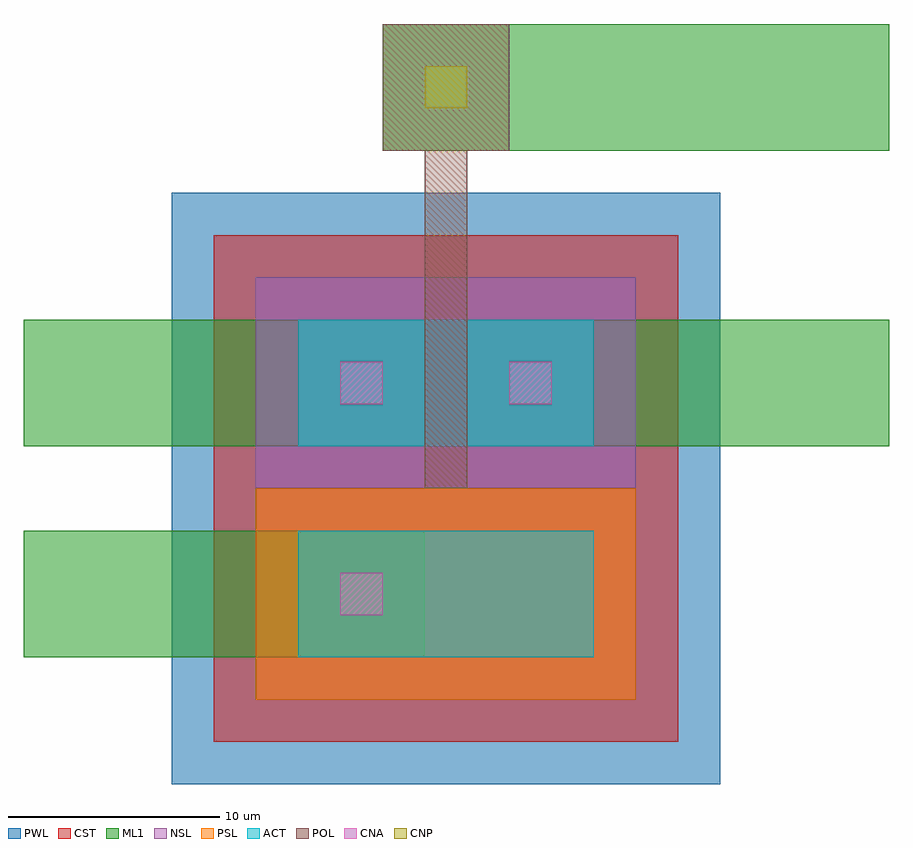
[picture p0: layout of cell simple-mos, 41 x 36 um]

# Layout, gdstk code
import gdstk
lib = gdstk.Library(unit=1e-6, precision=1e-09)
def R(c, l, rs):  # rectangles x0, y0, x1, y1
    for r in rs: c.add(gdstk.rectangle(r[:2], r[2:], *l))
PWL = (2, 0)
CST = (3, 0)
ACT = (4, 0)
POL = (7, 0)
NSL = (8, 0)
PSL = (9, 0)
CNA = (10, 0)
CNP = (11, 0)
ML1 = (12, 0)

simple_mos = lib.new_cell('simple-mos')
R(simple_mos, PWL, [(0,0,26,28)])
R(simple_mos, CST, [(2,2,24,26)])
R(simple_mos, ACT, [(6,6,20,12), (6,16,20,22)])
R(simple_mos, POL, [(12,14,14,30), (10,30,16,36)])
R(simple_mos, NSL, [(4,14,22,24)])
R(simple_mos, PSL, [(4,4,22,14)])
R(simple_mos, CNA, [(8,8,10,10), (8,18,10,20), (16,18,18,20)])
R(simple_mos, CNP, [(12,32,14,34)])
simple_mos.add(gdstk.FlexPath([(17,19),(31,19)], 6, ends="extended", simple_path=True, layer=12, datatype=0))  # ML1
simple_mos.add(gdstk.FlexPath([(13,33),(31,33)], 6, ends="extended", simple_path=True, layer=12, datatype=0))  # ML1
simple_mos.add(gdstk.FlexPath([(9,19),(-4,19)], 6, ends="extended", simple_path=True, layer=12, datatype=0))  # ML1
simple_mos.add(gdstk.FlexPath([(9,9),(-4,9)], 6, ends="extended", simple_path=True, layer=12, datatype=0))  # ML1
simple_mos.add(gdstk.Label('Body', (-12,10), layer=12, texttype=0))
simple_mos.add(gdstk.Label('Source', (-13,19), layer=12, texttype=0))
simple_mos.add(gdstk.Label('Gate', (36,34), layer=12, texttype=0))
simple_mos.add(gdstk.Label('Drain', (36,20), layer=12, texttype=0))

lib.write_gds('simple-mos.gds')
